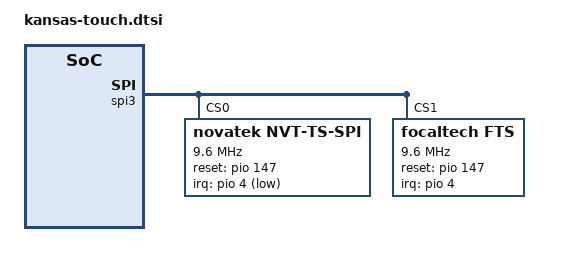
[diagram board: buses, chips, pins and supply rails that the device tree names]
// SPDX-License-Identifier: (GPL-2.0 OR MIT)
/*
 * Copyright (c) 2024, Motorola Mobility Inc. All rights reserved.
*/

&spi3 {
	status = "okay";
	#address-cells = <1>;
	#size-cells = <0>;
	mediatek,pad-select = <0>, <1>;
	pinctrl-names = "default", "nt36528_int_active",
	"nt36528_reset_active", "nt36528_int_suspend",
	"nt36528_reset_suspend", "nt36528_spi_mode";

	pinctrl-0 = <&ctp_nt36528_pins_default>;
	pinctrl-1 = <&ctp_nt36528_int_active>;
	pinctrl-2 = <&ctp_nt36528_reset_active>;
	pinctrl-3 = <&ctp_nt36528_int_suspend>;
	pinctrl-4 = <&ctp_nt36528_reset_suspend>;
	pinctrl-5 = <&ctp_nt36528_spi_mode>;

	/* Novatek device tree node */
	novatek@0 {
		compatible = "novatek,NVT-ts-spi";
		reg = <0>; //Same as CS ID
		status = "ok";
		spi-max-frequency = <9600000>;	//4800000,9600000,15000000,19200000
		novatek,reset-gpio = <&pio 147 0x0>;
		novatek,irq-gpio = <&pio 4 0x1>;
		novatek,def-max-resolution = <720 1604>;
		novatek,panel-supplier = "nt36528a", "nt36528";
		novatek,gesture-wait-pm;
		novatek,usb_charger;
		novatek,psy-name = "battery";
		novatek,report_gesture_key;
		novatek,supported_gesture_type = <0x06>; //bit2-0: double:single:zero tap

		// 525
		//novatek,swrst-n8-addr = <0x01F01A>;

		// 672A, 525B, 675, 526, 672C, 523
		//novatek,swrst-n8-addr = <0x03F0FE>;
		//novatek,spi-rd-fast-addr = <0x03F310>;

	};

	focaltech@1 {
		compatible = "focaltech,fts";
                reg = <1>; //Same as CS ID
                status = "ok";
                spi-max-frequency = <9600000>;
                focaltech,reset-gpio = <&pio 147 0x0>;
                focaltech,irq-gpio = <&pio 4 0x0>;
                focaltech,max-touch-number = <10>;
                focaltech,display-coords = <0 0 720 1604>;
                focaltech,report_gesture_key = <59>;
                focaltech,supported_gesture_type = <0x06>;
                focaltech,panel-supplier = "boe_ft8057s";
                focaltech,touch-charger-detect-psy-name = "battery";
                focaltech,touch-charger-detect-psp = "POWER_SUPPLY_PROP_STATUS";
	};
};

&pio {
	ctp_nt36528_pins_default: pins-default {
	};
	ctp_nt36528_int_active: int1-active {
		pins-cmd-dat {
			pinmux = <PINMUX_GPIO4__FUNC_GPIO4>;
			input-enable;
		};
	};
	ctp_nt36528_reset_active: reset1-active {
		pins-cmd-dat {
			pinmux = <PINMUX_GPIO147__FUNC_GPIO147>;
			output-high;
		};
	};
	ctp_nt36528_int_suspend: int1-suspend {
		pins-cmd-dat {
			pinmux = <PINMUX_GPIO4__FUNC_GPIO4>;
			output-low;
		};
	};
	ctp_nt36528_reset_suspend: reset1-suspend {
		pins-cmd-dat {
			pinmux = <PINMUX_GPIO147__FUNC_GPIO147>;
			output-low;
		};
	};
	ctp_nt36528_spi_mode: spimode-default {
		pins-cmd-dat {
			pinmux = <PINMUX_GPIO68__FUNC_SPI3_CLK>,
				<PINMUX_GPIO69__FUNC_SPI3_CSB>,
				<PINMUX_GPIO70__FUNC_SPI3_MO>,
				<PINMUX_GPIO71__FUNC_SPI3_MI>;
		};
	};
};

/* TOUCH end */
